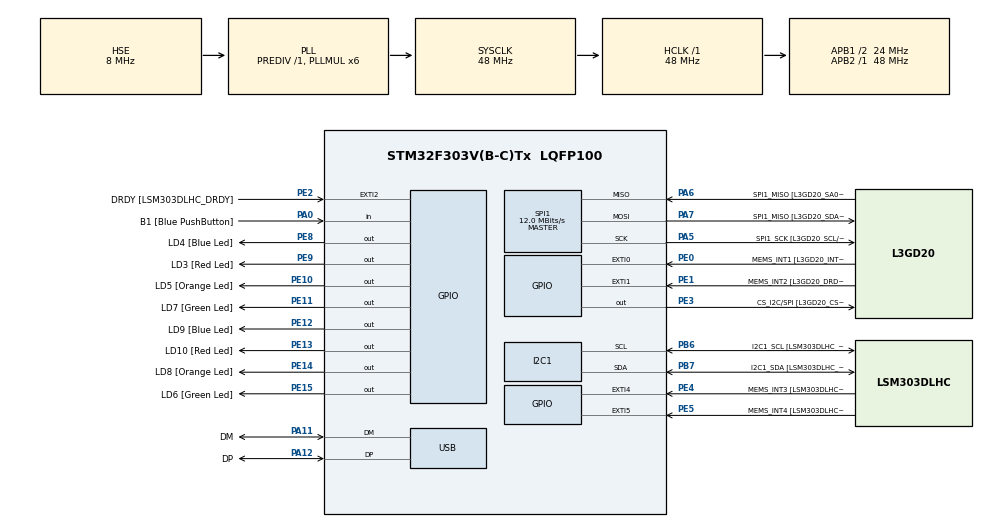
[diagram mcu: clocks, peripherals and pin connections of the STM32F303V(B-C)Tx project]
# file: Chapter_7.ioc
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FREERTOS.Tasks01=defaultTask,24,128,StartDefaultTask,Default,NULL,Dynamic,NULL,NULL
I2C1.Timing=0x2000090E
I2C1.Timing-I2C=0x2000090E
Mcu.Family=STM32F3
Mcu.Name=STM32F303V(B-C)Tx
Mcu.Package=LQFP100
NVIC.PriorityGroup=NVIC_PRIORITYGROUP_4
NVIC.TIM6_DAC_IRQn=true\:15\:0\:false\:false\:true\:false\:false\:true\:true
NVIC.TimeBase=TIM6_DAC_IRQn
NVIC.TimeBaseIP=TIM6
PA0.GPIO_Label=B1 [Blue PushButton]
PA0.Signal=GPIO_Input
PA11.GPIO_Label=DM
PA11.Mode=Device
PA11.Signal=USB_DM
PA12.GPIO_Label=DP
PA12.Mode=Device
PA12.Signal=USB_DP
PA13.GPIO_Label=SWDIO
PA13.Mode=Trace_Asynchronous_SW
PA13.Signal=SYS_JTMS-SWDIO
PA14.GPIO_Label=SWCLK
PA14.Mode=Trace_Asynchronous_SW
PA14.Signal=SYS_JTCK-SWCLK
PA5.GPIO_Label=SPI1_SCK [L3GD20_SCL/SPC]
PA5.Mode=Full_Duplex_Master
PA5.Signal=SPI1_SCK
PA6.GPIO_Label=SPI1_MISO [L3GD20_SA0/SDO]
PA6.Mode=Full_Duplex_Master
PA6.Signal=SPI1_MISO
PA7.GPIO_Label=SPI1_MISO [L3GD20_SDA/SDI/SDO]
PA7.Mode=Full_Duplex_Master
PA7.Signal=SPI1_MOSI
PB3.GPIO_Label=SWO
PB3.Mode=Trace_Asynchronous_SW
PB3.Signal=SYS_JTDO-TRACESWO
PB6.GPIO_Label=I2C1_SCL [LSM303DLHC_SCL]
PB6.GPIO_Pu=GPIO_PULLUP
PB6.Mode=I2C
PB6.Signal=I2C1_SCL
PB7.GPIO_Label=I2C1_SDA [LSM303DLHC_SDA]
PB7.GPIO_Pu=GPIO_PULLUP
PB7.Mode=I2C
PB7.Signal=I2C1_SDA
PC14-OSC32_IN.GPIO_Label=OSC32_IN
PC14-OSC32_IN.Signal=RCC_OSC32_IN
PC15-OSC32_OUT.GPIO_Label=OSC32_OUT
PC15-OSC32_OUT.Signal=RCC_OSC32_OUT
PE0.GPIO_Label=MEMS_INT1 [L3GD20_INT1]
PE0.GPIO_ModeDefaultEXTI=GPIO_MODE_EVT_RISING
PE0.Signal=GPXTI0
PE1.GPIO_Label=MEMS_INT2 [L3GD20_DRDY/INT2]
PE1.GPIO_ModeDefaultEXTI=GPIO_MODE_EVT_RISING
PE1.Signal=GPXTI1
PE10.GPIO_Label=LD5 [Orange Led]
PE10.Signal=GPIO_Output
PE11.GPIO_Label=LD7 [Green Led]
PE11.Signal=GPIO_Output
PE12.GPIO_Label=LD9 [Blue Led]
PE12.Signal=GPIO_Output
PE13.GPIO_Label=LD10 [Red Led]
PE13.Signal=GPIO_Output
PE14.GPIO_Label=LD8 [Orange Led]
PE14.Signal=GPIO_Output
PE15.GPIO_Label=LD6 [Green Led]
PE15.Signal=GPIO_Output
PE2.GPIO_Label=DRDY [LSM303DLHC_DRDY]
PE2.GPIO_ModeDefaultEXTI=GPIO_MODE_EVT_RISING
PE2.Signal=GPXTI2
PE3.GPIO_Label=CS_I2C/SPI [L3GD20_CS_I2C/SPI]
PE3.Signal=GPIO_Output
PE4.GPIO_Label=MEMS_INT3 [LSM303DLHC_INT1]
PE4.GPIO_ModeDefaultEXTI=GPIO_MODE_EVT_RISING
PE4.Signal=GPXTI4
PE5.GPIO_Label=MEMS_INT4 [LSM303DLHC_INT2]
PE5.GPIO_ModeDefaultEXTI=GPIO_MODE_EVT_RISING
PE5.Signal=GPXTI5
PE8.GPIO_Label=LD4 [Blue Led]
PE8.Signal=GPIO_Output
PE9.GPIO_Label=LD3 [Red Led]
PE9.Signal=GPIO_Output
PF0-OSC_IN.GPIO_Label=OSC_IN
PF0-OSC_IN.Mode=HSE-External-Clock-Source
PF0-OSC_IN.Signal=RCC_OSC_IN
PF1-OSC_OUT.GPIO_Label=OSC_OUT
PF1-OSC_OUT.Signal=RCC_OSC_OUT
ProjectManager.HeapSize=0x200
ProjectManager.StackSize=0x400
ProjectManager.TargetToolchain=STM32CubeIDE
RCC.AHBFreq_Value=48000000
RCC.APB1CLKDivider=RCC_HCLK_DIV2
RCC.APB1Freq_Value=24000000
RCC.APB1TimFreq_Value=48000000
RCC.APB2Freq_Value=48000000
RCC.APB2TimFreq_Value=48000000
RCC.CortexFreq_Value=48000000
RCC.HCLKFreq_Value=48000000
RCC.HSE_VALUE=8000000
RCC.HSI_VALUE=8000000
RCC.LSE_VALUE=32768
RCC.PLLMUL=RCC_PLL_MUL6
RCC.SYSCLKFreq_VALUE=48000000
RCC.SYSCLKSourceVirtual=RCC_SYSCLKSOURCE_PLLCLK
RCC.USBFreq_Value=48000000
SPI1.BaudRatePrescaler=SPI_BAUDRATEPRESCALER_4
SPI1.BaudRatePrescaler-Full_Duplex_Master=SPI_BAUDRATEPRESCALER_2
SPI1.CalculateBaudRate=12.0 MBits/s
SPI1.CalculateBaudRate-Full_Duplex_Master=24.0 MBits/s
SPI1.Direction=SPI_DIRECTION_2LINES
SPI1.Mode=SPI_MODE_MASTER
SPI1.Mode-Full_Duplex_Master=SPI_MODE_MASTER
SPI1.VirtualType=VM_MASTER
VP_FREERTOS_VS_CMSIS_V2.Mode=CMSIS_V2
VP_SYS_VS_tim6.Mode=TIM6
board=STM32F3DISCOVERY

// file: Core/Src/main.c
/* USER CODE BEGIN Header */
/**
  ******************************************************************************
  * @file           : main.c
  * @brief          : Main program body
  ******************************************************************************
  * @attention
  *
  * Copyright (c) 2025 STMicroelectronics.
  * All rights reserved.
  *
  * This software is licensed under terms that can be found in the LICENSE file
  * in the root directory of this software component.
  * If no LICENSE file comes with this software, it is provided AS-IS.
  *
  ******************************************************************************
  */
/* USER CODE END Header */
#include "main.h"
#include "cmsis_os.h"

/* USER CODE BEGIN Includes */
#include <SEGGER_SYSVIEW.h>
#include <stdio.h>
#include <task.h>
#include <F3DISCOVERY_GPIO.h>
/* USER CODE END Includes */

/* USER CODE BEGIN PD */
void GreenTask(void *argument);
void BlueTask(void *argument);
void RedTask(void *argument);
void lookBusy( void );

//the address of Task2Handle is passed to xTaskCreate.
//this global variable will be used by Task3 to delete BlueTask.
TaskHandle_t blueTaskHandle;

// some common variables to use for each task
// 128 * 4 = 512 bytes
//(recommended min stack size per task)
#define STACK_SIZE 128

//define stack and task control block (TCB) for the red task
static StackType_t RedTaskStack[STACK_SIZE];
static StaticTask_t RedTaskTCB;
/* USER CODE END PD */

I2C_HandleTypeDef hi2c1;

SPI_HandleTypeDef hspi1;

PCD_HandleTypeDef hpcd_USB_FS;

/* Definitions for defaultTask */
osThreadId_t defaultTaskHandle;
const osThreadAttr_t defaultTask_attributes = {
  .name = "defaultTask",
  .stack_size = 128 * 4,
  .priority = (osPriority_t) osPriorityNormal,
};

void SystemClock_Config(void);
static void MX_GPIO_Init(void);
static void MX_I2C1_Init(void);
static void MX_SPI1_Init(void);
static void MX_USB_PCD_Init(void);
void StartDefaultTask(void *argument);

int main(void)
{

  /* MCU Configuration--------------------------------------------------------*/

  /* Reset of all peripherals, Initializes the Flash interface and the Systick. */
  HAL_Init();

  /* Configure the system clock */
  SystemClock_Config();

  /* Initialize all configured peripherals */
  MX_GPIO_Init();
  MX_I2C1_Init();
  MX_SPI1_Init();
  MX_USB_PCD_Init();

  /* Init scheduler */
  osKernelInitialize();

  /* Create the thread(s) */
  /* creation of defaultTask */
  //defaultTaskHandle = osThreadNew(StartDefaultTask, NULL, &defaultTask_attributes);

  /* USER CODE BEGIN RTOS_THREADS */
	SEGGER_SYSVIEW_Init(HAL_RCC_GetHCLKFreq(), HAL_RCC_GetHCLKFreq(), 0, 0);
	SEGGER_SYSVIEW_Start();
	//using an inlined if statement with an infinite while loop to stop in case
	//the task wasn't created successfully
	if (xTaskCreate(GreenTask, "GreenTask", STACK_SIZE, NULL, tskIDLE_PRIORITY + 2, NULL) != pdPASS){ while(1); }

	//using an assert to ensure proper task creation
	assert_param(xTaskCreate(BlueTask, "BlueTask", STACK_SIZE, NULL, tskIDLE_PRIORITY + 1, &blueTaskHandle) == pdPASS);

	//xTaskCreateStatic returns task hanlde
	//always passes since memory was statically allocated
	xTaskCreateStatic(	RedTask, "RedTask", STACK_SIZE, NULL,
						tskIDLE_PRIORITY + 1,
						RedTaskStack, &RedTaskTCB);

	//start the scheduler - shouldn't return unless there's a problem
	vTaskStartScheduler();
  /* USER CODE END RTOS_THREADS */

  /* Start scheduler */
  osKernelStart();

  /* We should never get here as control is now taken by the scheduler */

  /* Infinite loop */
  while (1)
  {

  }
}

void SystemClock_Config(void)
{
  RCC_OscInitTypeDef RCC_OscInitStruct = {0};
  RCC_ClkInitTypeDef RCC_ClkInitStruct = {0};
  RCC_PeriphCLKInitTypeDef PeriphClkInit = {0};

  /** Initializes the RCC Oscillators according to the specified parameters
  * in the RCC_OscInitTypeDef structure.
  */
  RCC_OscInitStruct.OscillatorType = RCC_OSCILLATORTYPE_HSI|RCC_OSCILLATORTYPE_HSE;
  RCC_OscInitStruct.HSEState = RCC_HSE_BYPASS;
  RCC_OscInitStruct.HSEPredivValue = RCC_HSE_PREDIV_DIV1;
  RCC_OscInitStruct.HSIState = RCC_HSI_ON;
  RCC_OscInitStruct.HSICalibrationValue = RCC_HSICALIBRATION_DEFAULT;
  RCC_OscInitStruct.PLL.PLLState = RCC_PLL_ON;
  RCC_OscInitStruct.PLL.PLLSource = RCC_PLLSOURCE_HSE;
  RCC_OscInitStruct.PLL.PLLMUL = RCC_PLL_MUL6;
  if (HAL_RCC_OscConfig(&RCC_OscInitStruct) != HAL_OK)
  {
    Error_Handler();
  }

  /** Initializes the CPU, AHB and APB buses clocks
  */
  RCC_ClkInitStruct.ClockType = RCC_CLOCKTYPE_HCLK|RCC_CLOCKTYPE_SYSCLK
                              |RCC_CLOCKTYPE_PCLK1|RCC_CLOCKTYPE_PCLK2;
  RCC_ClkInitStruct.SYSCLKSource = RCC_SYSCLKSOURCE_PLLCLK;
  RCC_ClkInitStruct.AHBCLKDivider = RCC_SYSCLK_DIV1;
  RCC_ClkInitStruct.APB1CLKDivider = RCC_HCLK_DIV2;
  RCC_ClkInitStruct.APB2CLKDivider = RCC_HCLK_DIV1;

  if (HAL_RCC_ClockConfig(&RCC_ClkInitStruct, FLASH_LATENCY_1) != HAL_OK)
  {
    Error_Handler();
  }
  PeriphClkInit.PeriphClockSelection = RCC_PERIPHCLK_USB|RCC_PERIPHCLK_I2C1;
  PeriphClkInit.I2c1ClockSelection = RCC_I2C1CLKSOURCE_HSI;
  PeriphClkInit.USBClockSelection = RCC_USBCLKSOURCE_PLL;
  if (HAL_RCCEx_PeriphCLKConfig(&PeriphClkInit) != HAL_OK)
  {
    Error_Handler();
  }
}

static void MX_I2C1_Init(void)
{

  hi2c1.Instance = I2C1;
  hi2c1.Init.Timing = 0x2000090E;
  hi2c1.Init.OwnAddress1 = 0;
  hi2c1.Init.AddressingMode = I2C_ADDRESSINGMODE_7BIT;
  hi2c1.Init.DualAddressMode = I2C_DUALADDRESS_DISABLE;
  hi2c1.Init.OwnAddress2 = 0;
  hi2c1.Init.OwnAddress2Masks = I2C_OA2_NOMASK;
  hi2c1.Init.GeneralCallMode = I2C_GENERALCALL_DISABLE;
  hi2c1.Init.NoStretchMode = I2C_NOSTRETCH_DISABLE;
  if (HAL_I2C_Init(&hi2c1) != HAL_OK)
  {
    Error_Handler();
  }

  /** Configure Analogue filter
  */
  if (HAL_I2CEx_ConfigAnalogFilter(&hi2c1, I2C_ANALOGFILTER_ENABLE) != HAL_OK)
  {
    Error_Handler();
  }

  /** Configure Digital filter
  */
  if (HAL_I2CEx_ConfigDigitalFilter(&hi2c1, 0) != HAL_OK)
  {
    Error_Handler();
  }

}

static void MX_SPI1_Init(void)
{

  /* SPI1 parameter configuration*/
  hspi1.Instance = SPI1;
  hspi1.Init.Mode = SPI_MODE_MASTER;
  hspi1.Init.Direction = SPI_DIRECTION_2LINES;
  hspi1.Init.DataSize = SPI_DATASIZE_4BIT;
  hspi1.Init.CLKPolarity = SPI_POLARITY_LOW;
  hspi1.Init.CLKPhase = SPI_PHASE_1EDGE;
  hspi1.Init.NSS = SPI_NSS_SOFT;
  hspi1.Init.BaudRatePrescaler = SPI_BAUDRATEPRESCALER_4;
  hspi1.Init.FirstBit = SPI_FIRSTBIT_MSB;
  hspi1.Init.TIMode = SPI_TIMODE_DISABLE;
  hspi1.Init.CRCCalculation = SPI_CRCCALCULATION_DISABLE;
  hspi1.Init.CRCPolynomial = 7;
  hspi1.Init.CRCLength = SPI_CRC_LENGTH_DATASIZE;
  hspi1.Init.NSSPMode = SPI_NSS_PULSE_ENABLE;
  if (HAL_SPI_Init(&hspi1) != HAL_OK)
  {
    Error_Handler();
  }

}

static void MX_USB_PCD_Init(void)
{

  hpcd_USB_FS.Instance = USB;
  hpcd_USB_FS.Init.dev_endpoints = 8;
  hpcd_USB_FS.Init.speed = PCD_SPEED_FULL;
  hpcd_USB_FS.Init.phy_itface = PCD_PHY_EMBEDDED;
  hpcd_USB_FS.Init.low_power_enable = DISABLE;
  hpcd_USB_FS.Init.battery_charging_enable = DISABLE;
  if (HAL_PCD_Init(&hpcd_USB_FS) != HAL_OK)
  {
    Error_Handler();
  }

}

static void MX_GPIO_Init(void)
{
  GPIO_InitTypeDef GPIO_InitStruct = {0};

  /* GPIO Ports Clock Enable */
  __HAL_RCC_GPIOE_CLK_ENABLE();
  __HAL_RCC_GPIOC_CLK_ENABLE();
  __HAL_RCC_GPIOF_CLK_ENABLE();
  __HAL_RCC_GPIOA_CLK_ENABLE();
  __HAL_RCC_GPIOB_CLK_ENABLE();

  /*Configure GPIO pin Output Level */
  HAL_GPIO_WritePin(GPIOE, CS_I2C_SPI_Pin|LD4_Pin|LD3_Pin|LD5_Pin
                          |LD7_Pin|LD9_Pin|LD10_Pin|LD8_Pin
                          |LD6_Pin, GPIO_PIN_RESET);

  /*Configure GPIO pins : DRDY_Pin MEMS_INT3_Pin MEMS_INT4_Pin MEMS_INT1_Pin
                           MEMS_INT2_Pin */
  GPIO_InitStruct.Pin = DRDY_Pin|MEMS_INT3_Pin|MEMS_INT4_Pin|MEMS_INT1_Pin
                          |MEMS_INT2_Pin;
  GPIO_InitStruct.Mode = GPIO_MODE_EVT_RISING;
  GPIO_InitStruct.Pull = GPIO_NOPULL;
  HAL_GPIO_Init(GPIOE, &GPIO_InitStruct);

  /*Configure GPIO pins : CS_I2C_SPI_Pin LD4_Pin LD3_Pin LD5_Pin
                           LD7_Pin LD9_Pin LD10_Pin LD8_Pin
                           LD6_Pin */
  GPIO_InitStruct.Pin = CS_I2C_SPI_Pin|LD4_Pin|LD3_Pin|LD5_Pin
                          |LD7_Pin|LD9_Pin|LD10_Pin|LD8_Pin
                          |LD6_Pin;
  GPIO_InitStruct.Mode = GPIO_MODE_OUTPUT_PP;
  GPIO_InitStruct.Pull = GPIO_NOPULL;
  GPIO_InitStruct.Speed = GPIO_SPEED_FREQ_LOW;
  HAL_GPIO_Init(GPIOE, &GPIO_InitStruct);

  /*Configure GPIO pin : B1_Pin */
  GPIO_InitStruct.Pin = B1_Pin;
  GPIO_InitStruct.Mode = GPIO_MODE_INPUT;
  GPIO_InitStruct.Pull = GPIO_NOPULL;
  HAL_GPIO_Init(B1_GPIO_Port, &GPIO_InitStruct);

}

/* USER CODE BEGIN 4 */
void GreenTask(void *argument)
{
	SEGGER_SYSVIEW_PrintfHost("Task1 running \
							   while Green LED is on\n");
	GreenLed.On();
	vTaskDelay(1500/ portTICK_PERIOD_MS);
	GreenLed.Off();

	//a task can delete itself by passing NULL to vTaskDelete
	vTaskDelete(NULL);

	//task never get's here
	GreenLed.On();
}

void BlueTask( void* argument )
{
	while(1)
	{
		SEGGER_SYSVIEW_PrintfHost("BlueTaskRunning\n");
		BlueLed.On();
		vTaskDelay(200 / portTICK_PERIOD_MS);
		BlueLed.Off();
		vTaskDelay(200 / portTICK_PERIOD_MS);
	}
}

void RedTask( void* argument )
{
	uint8_t firstRun = 1;

	while(1)
	{
		lookBusy();

		SEGGER_SYSVIEW_PrintfHost("RedTaskRunning\n");
		RedLed.On();
		vTaskDelay(500/ portTICK_PERIOD_MS);
		RedLed.Off();
		vTaskDelay(500/ portTICK_PERIOD_MS);

		if(firstRun == 1)
		{
			//tasks can delete one-another by passing the desired
			//TaskHandle_t to vTaskDelete
			vTaskDelete(blueTaskHandle);
			firstRun = 0;
		}
	}
}

void lookBusy( void )
{
	volatile uint32_t dontCare = 0;
	for(int i = 0; i < 50E3; i++)
	{
		dontCare = i % 4;
	}
	SEGGER_SYSVIEW_PrintfHost("looking busy %d\n", dontCare);
}

/* USER CODE END 4 */

void StartDefaultTask(void *argument)
{
  for(;;)
  {
    osDelay(1);
  }
}

void HAL_TIM_PeriodElapsedCallback(TIM_HandleTypeDef *htim)
{
  if (htim->Instance == TIM6)
  {
    HAL_IncTick();
  }
}

void Error_Handler(void)
{
  __disable_irq();
  while (1)
  {
  }
}
